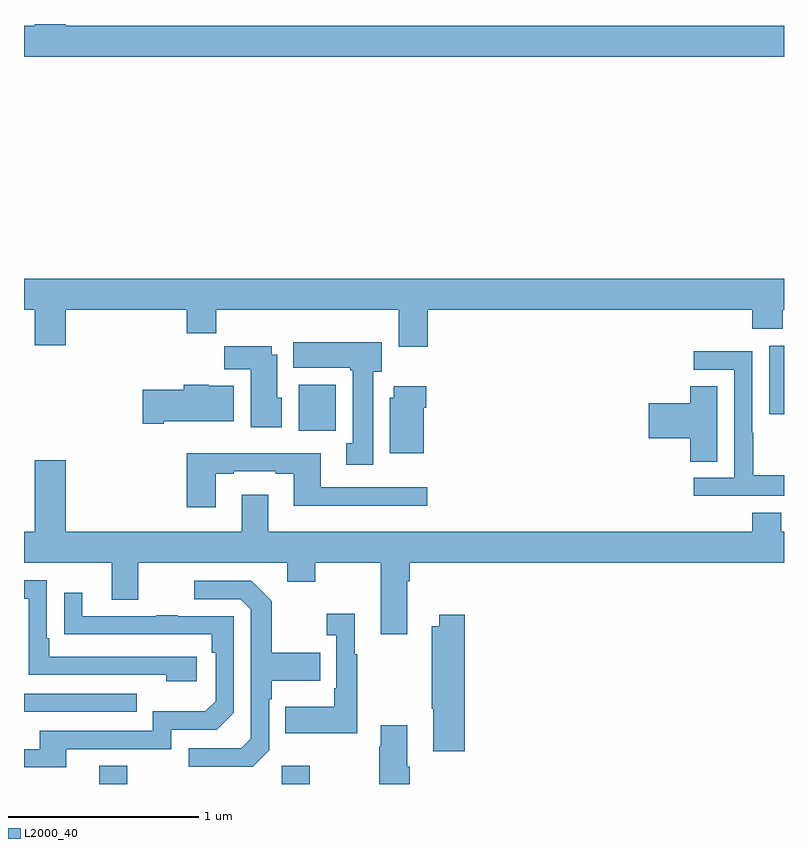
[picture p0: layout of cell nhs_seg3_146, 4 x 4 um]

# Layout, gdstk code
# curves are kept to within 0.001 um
import gdstk
lib = gdstk.Library(unit=1e-6, precision=1e-09)
def R(c, l, rs):  # rectangles x0, y0, x1, y1
    for r in rs: c.add(gdstk.rectangle(r[:2], r[2:], *l))
def P(c, l, *ps):  # polygons
    for p in ps: c.add(gdstk.Polygon(p, *l))
L2000_40 = (2000, 40)

nhs_seg3_146 = lib.new_cell('nhs_seg3_146')
R(nhs_seg3_146, L2000_40, [(117.395,718.4,117.543,718.495), (118.356,718.4,118.503,718.495), (117,718.779,117.593,718.875), (118.445,720.26,118.642,720.502), (120.923,720.345,121,720.706)])
P(nhs_seg3_146, L2000_40, [(121,722.392),(117.22,722.392),(117.22,722.4),(117.056,722.4),(117.056,722.392),(117,722.392),(117,722.228),(121,722.228)],
  [(119.126,720.896),(120.833,720.896),(120.833,720.797),(120.993,720.797),(120.993,720.896),(121,720.896),(121,721.06),(117,721.06),(117,720.896),(117.056,720.896),(117.056,720.708),(117.22,720.708),(117.22,720.896),(117.857,720.896),(117.857,720.772),(118.013,720.772),(118.013,720.896),(118.973,720.896),(118.973,720.702),(119.126,720.702)],
  [(118.837,720.57),(118.882,720.57),(118.882,720.724),(118.418,720.724),(118.418,720.59),(118.717,720.59),(118.717,720.577),(118.73,720.577),(118.73,720.194),(118.697,720.194),(118.697,720.081),(118.837,720.081)],
  [(118.357,720.432),(118.333,720.432),(118.333,720.658),(118.303,720.658),(118.303,720.703),(118.054,720.703),(118.054,720.584),(118.193,720.584),(118.193,720.278),(118.357,720.278)],
  [(121,720.025),(120.837,720.025),(120.837,720.248),(120.834,720.248),(120.834,720.678),(120.525,720.678),(120.525,720.579),(120.738,720.579),(120.738,720.012),(120.525,720.012),(120.525,719.916),(121,719.916)],
  [(117.736,720.308),(118.105,720.308),(118.105,720.496),(117.972,720.496),(117.972,720.502),(117.842,720.502),(117.842,720.474),(117.624,720.474),(117.624,720.296),(117.736,720.296)],
  [(120.649,720.494),(120.506,720.494),(120.506,720.404),(120.288,720.404),(120.288,720.221),(120.506,720.221),(120.506,720.097),(120.649,720.097)],
  [(119.104,720.38),(119.117,720.38),(119.117,720.493),(118.946,720.493),(118.946,720.432),(118.925,720.432),(118.925,720.14),(119.104,720.14)],
  [(118.009,720.033),(118.105,720.033),(118.105,720.045),(118.325,720.045),(118.325,720.033),(118.421,720.033),(118.421,719.864),(119.122,719.864),(119.122,719.961),(118.561,719.961),(118.561,720.142),(117.857,720.142),(117.857,719.856),(118.009,719.856)],
  [(119.017,719.468),(119.03,719.468),(119.03,719.564),(121,719.564),(121,719.728),(120.985,719.728),(120.985,719.827),(120.833,719.827),(120.833,719.728),(118.285,719.728),(118.285,719.923),(118.145,719.923),(118.145,719.728),(117.22,719.728),(117.22,720.103),(117.056,720.103),(117.056,719.728),(117,719.728),(117,719.564),(117.461,719.564),(117.461,719.37),(117.601,719.37),(117.601,719.564),(118.385,719.564),(118.385,719.465),(118.533,719.465),(118.533,719.564),(118.877,719.564),(118.877,719.187),(119.017,719.187)],
  [(117.91,719.07),(117.133,719.07),(117.133,719.167),(117.12,719.167),(117.12,719.472),(117,719.472),(117,719.376),(117.024,719.376),(117.024,718.974),(117.749,718.974),(117.749,718.94),(117.91,718.94)],
  [(118.29,718.578),(118.29,718.847),(118.303,718.847),(118.303,718.943),(118.559,718.943),(118.559,719.091),(118.303,719.091),(118.303,719.363),(118.197,719.469),(117.897,719.469),(117.897,719.373),(118.14,719.373),(118.194,719.319),(118.194,718.638),(118.143,718.587),(117.867,718.587),(117.867,718.491),(118.203,718.491)],
  [(117.223,718.584),(117.774,718.584),(117.774,718.686),(118.014,718.686),(118.104,718.776),(118.104,719.283),(117.809,719.283),(117.809,719.288),(117.697,719.288),(117.697,719.283),(117.307,719.283),(117.307,719.407),(117.211,719.407),(117.211,719.188),(117.988,719.187),(117.988,719.09),(118.008,719.09),(118.008,718.836),(117.955,718.783),(117.678,718.783),(117.678,718.68),(117.083,718.68),(117.083,718.584),(117,718.584),(117,718.488),(117.223,718.488)],
  [(118.753,719.083),(118.741,719.083),(118.741,719.296),(118.593,719.296),(118.593,719.183),(118.644,719.183),(118.644,718.903),(118.632,718.903),(118.632,718.807),(118.375,718.807),(118.375,718.667),(118.753,718.667)],
  [(119.321,719.29),(119.186,719.29),(119.186,719.23),(119.146,719.23),(119.146,718.795),(119.153,718.795),(119.153,718.572),(119.321,718.572)],
  [(119.03,718.492),(119.017,718.492),(119.017,718.708),(118.877,718.708),(118.877,718.595),(118.87,718.595),(118.87,718.4),(119.03,718.4)])

lib.write_gds('nhs_seg3_146.gds')
